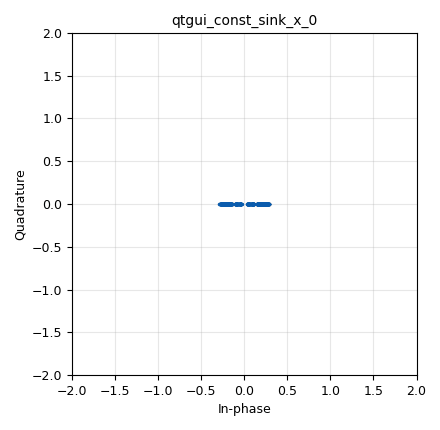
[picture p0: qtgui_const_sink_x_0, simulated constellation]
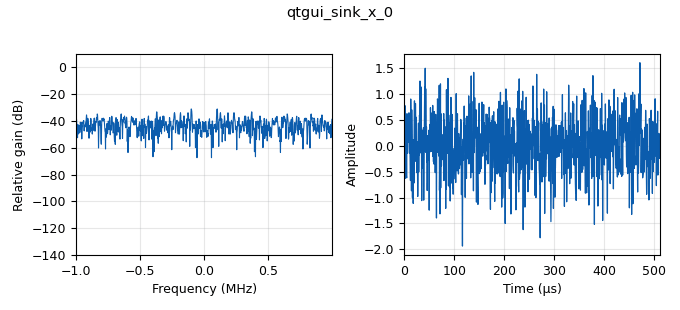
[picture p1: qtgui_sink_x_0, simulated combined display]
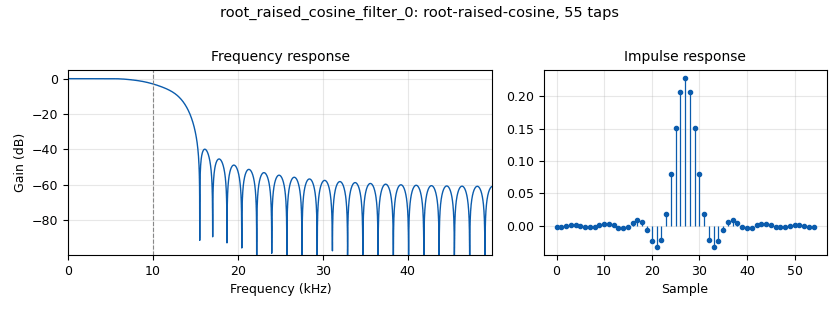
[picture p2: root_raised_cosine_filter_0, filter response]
options:
  parameters:
    generate_options: qt_gui
    id: part1
    output_language: python
    title: Not titled yet
  states: {}

blocks:
- name: m
  id: variable_qtgui_range
  parameters:
    start: '0'
    step: '0.01'
    stop: '1'
    value: '0.5'
  states: {}
- name: samp_rate
  id: variable
  parameters:
    value: symb_rate*sps
  states: {}
- name: sps
  id: variable
  parameters:
    value: '5'
  states: {}
- name: symb_rate
  id: variable
  parameters:
    value: 20e3
  states: {}
- name: analog_noise_source_x_0
  id: analog_noise_source_x
  parameters:
    amp: m
    noise_type: analog.GR_GAUSSIAN
    seed: '0'
    type: float
  states: {}
- name: analog_random_source_x_0
  id: analog_random_source_x
  parameters:
    max: '2'
    min: '0'
    num_samps: '1000'
    repeat: 'True'
    type: byte
  states: {}
- name: analog_random_source_x_0_0
  id: analog_random_source_x
  parameters:
    max: '4'
    min: '0'
    num_samps: '1000'
    repeat: 'True'
    type: byte
  states: {state: disabled}
- name: analog_sig_source_x_0
  id: analog_sig_source_x
  parameters:
    amp: '1'
    freq: 100e3
    offset: '0'
    phase: '0'
    samp_rate: 2e6
    type: float
    waveform: analog.GR_COS_WAVE
  states: {}
- name: blocks_add_xx_0
  id: blocks_add_xx
  parameters:
    type: float
  states: {}
- name: blocks_complex_to_float_0
  id: blocks_complex_to_float
  parameters: {}
  states: {}
- name: blocks_multiply_xx_0
  id: blocks_multiply_xx
  parameters:
    type: float
  states: {}
- name: digital_chunks_to_symbols_xx_0
  id: digital_chunks_to_symbols_xx
  parameters:
    dimension: '1'
    in_type: byte
    out_type: complex
    symbol_table: '[-1,1]'
  states: {}
- name: digital_chunks_to_symbols_xx_0_0
  id: digital_chunks_to_symbols_xx
  parameters:
    dimension: '1'
    in_type: byte
    out_type: complex
    symbol_table: '[-1+1j,1+1j, -1-1j, 1-1j]'
  states: {state: disabled}
- name: interp_fir_filter_xxx_0
  id: interp_fir_filter_xxx
  parameters:
    interp: sps
    taps: '1'
    type: ccc
  states: {}
- name: qtgui_const_sink_x_0
  id: qtgui_const_sink_x
  parameters:
    size: '1024'
    type: complex
  states: {}
- name: qtgui_sink_x_0
  id: qtgui_sink_x
  parameters:
    bw: 2e6
    fc: '0'
    fftsize: '1024'
    type: float
  states: {}
- name: rational_resampler_xxx_0
  id: rational_resampler_xxx
  parameters:
    decim: '1'
    interp: '20'
    type: ccc
  states: {}
- name: root_raised_cosine_filter_0
  id: root_raised_cosine_filter
  parameters:
    alpha: '0.5'
    decim: '1'
    gain: '1'
    ntaps: 11*sps
    samp_rate: samp_rate
    sym_rate: symb_rate
    type: fir_filter_ccf
  states: {}

connections:
- [analog_noise_source_x_0, '0', blocks_add_xx_0, '1']
- [analog_random_source_x_0, '0', digital_chunks_to_symbols_xx_0, '0']
- [analog_random_source_x_0_0, '0', digital_chunks_to_symbols_xx_0_0, '0']
- [analog_sig_source_x_0, '0', blocks_multiply_xx_0, '1']
- [blocks_add_xx_0, '0', qtgui_sink_x_0, '0']
- [blocks_complex_to_float_0, '0', blocks_multiply_xx_0, '0']
- [blocks_multiply_xx_0, '0', blocks_add_xx_0, '0']
- [digital_chunks_to_symbols_xx_0, '0', interp_fir_filter_xxx_0, '0']
- [digital_chunks_to_symbols_xx_0_0, '0', interp_fir_filter_xxx_0, '0']
- [interp_fir_filter_xxx_0, '0', root_raised_cosine_filter_0, '0']
- [rational_resampler_xxx_0, '0', blocks_complex_to_float_0, '0']
- [root_raised_cosine_filter_0, '0', qtgui_const_sink_x_0, '0']
- [root_raised_cosine_filter_0, '0', rational_resampler_xxx_0, '0']

metadata:
  file_format: 1
